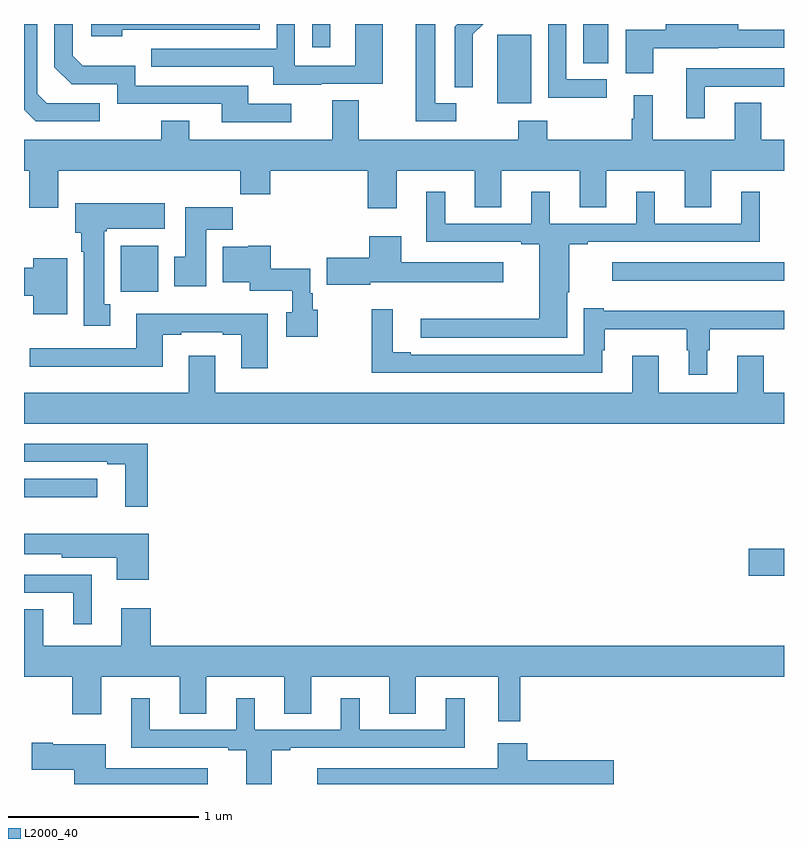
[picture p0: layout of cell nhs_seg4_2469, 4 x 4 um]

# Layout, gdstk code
import gdstk
lib = gdstk.Library(unit=1e-6, precision=1e-09)
def R(c, l, rs):  # rectangles x0, y0, x1, y1
    for r in rs: c.add(gdstk.rectangle(r[:2], r[2:], *l))
def P(c, l, *ps):  # polygons
    for p in ps: c.add(gdstk.Polygon(p, *l))
L2000_40 = (2000, 40)

nhs_seg4_2469 = lib.new_cell('nhs_seg4_2469')
R(nhs_seg4_2469, L2000_40, [(242.814,819.997,243,820.139), (239,820.409,239.386,820.506), (239.51,821.492,239.707,821.734), (242.097,821.549,243,821.646), (241.49,822.482,241.669,822.843), (241.943,822.694,242.074,822.9), (240.516,822.777,240.613,822.9)])
P(nhs_seg4_2469, L2000_40, [(239.398,822.483),(239.121,822.483),(239.07,822.534),(239.07,822.9),(239,822.9),(239,822.448),(239.061,822.387),(239.398,822.387)],
  [(240.565,822.585),(240.889,822.585),(240.889,822.9),(240.744,822.9),(240.744,822.681),(240.426,822.681),(240.426,822.9),(240.33,822.9),(240.33,822.771),(239.671,822.771),(239.671,822.675),(240.311,822.675),(240.311,822.581),(240.565,822.581)],
  [(239.516,822.87),(240.24,822.87),(240.24,822.9),(239.355,822.9),(239.355,822.836),(239.516,822.836)],
  [(241.362,822.722),(241.361,822.722),(241.361,822.845),(241.416,822.9),(241.28,822.9),(241.266,822.886),(241.266,822.568),(241.362,822.568)],
  [(242.068,822.609),(241.854,822.609),(241.854,822.9),(241.758,822.9),(241.758,822.511),(242.068,822.511)],
  [(241.276,822.483),(241.165,822.483),(241.165,822.9),(241.061,822.9),(241.061,822.387),(241.276,822.387)],
  [(240.406,822.48),(240.181,822.48),(240.181,822.576),(239.586,822.576),(239.586,822.679),(239.309,822.679),(239.256,822.732),(239.256,822.9),(239.16,822.9),(239.16,822.672),(239.25,822.582),(239.49,822.582),(239.49,822.48),(240.041,822.48),(240.041,822.384),(240.406,822.384)],
  [(242.311,822.772),(242.654,822.772),(242.654,822.774),(243,822.774),(243,822.871),(242.758,822.871),(242.758,822.9),(242.378,822.9),(242.378,822.871),(242.168,822.871),(242.168,822.642),(242.311,822.642)],
  [(242.584,822.57),(243,822.57),(243,822.666),(242.486,822.666),(242.486,822.405),(242.584,822.405)],
  [(240.961,822.128),(241.373,822.128),(241.373,821.935),(241.513,821.935),(241.513,822.128),(241.925,822.128),(241.925,821.935),(242.065,821.935),(242.065,822.128),(242.477,822.128),(242.477,821.935),(242.617,821.935),(242.617,822.128),(243,822.128),(243,822.292),(242.881,822.292),(242.881,822.485),(242.741,822.485),(242.741,822.292),(242.309,822.292),(242.309,822.526),(242.21,822.526),(242.21,822.401),(242.199,822.401),(242.199,822.292),(241.755,822.292),(241.755,822.391),(241.6,822.391),(241.6,822.292),(240.763,822.292),(240.763,822.5),(240.623,822.5),(240.623,822.292),(239.869,822.292),(239.869,822.391),(239.722,822.391),(239.722,822.292),(239,822.292),(239,822.128),(239.027,822.128),(239.027,821.934),(239.179,821.934),(239.179,822.128),(240.139,822.128),(240.139,822.004),(240.296,822.004),(240.296,822.128),(240.809,822.128),(240.809,821.931),(240.961,821.931)],
  [(241.858,821.487),(241.87,821.487),(241.87,821.742),(241.966,821.742),(241.966,821.754),(242.873,821.754),(242.873,822.016),(242.774,822.016),(242.774,821.85),(242.32,821.85),(242.32,822.016),(242.222,822.016),(242.222,821.85),(241.768,821.85),(241.768,822.016),(241.67,822.016),(241.67,821.85),(241.216,821.85),(241.216,822.016),(241.118,822.016),(241.118,821.754),(241.616,821.754),(241.616,821.742),(241.712,821.742),(241.712,821.348),(241.089,821.348),(241.089,821.25),(241.858,821.25)],
  [(239.455,821.426),(239.422,821.426),(239.422,821.809),(239.436,821.809),(239.436,821.822),(239.74,821.822),(239.74,821.956),(239.27,821.956),(239.27,821.802),(239.3,821.802),(239.3,821.702),(239.315,821.702),(239.315,821.313),(239.455,821.313)],
  [(239.959,821.816),(240.098,821.816),(240.098,821.935),(239.849,821.935),(239.849,821.676),(239.792,821.676),(239.792,821.52),(239.959,821.52)],
  [(240.822,821.54),(241.522,821.54),(241.522,821.647),(240.985,821.647),(240.985,821.782),(240.818,821.782),(240.818,821.67),(240.594,821.67),(240.594,821.528),(240.822,821.528)],
  [(240.546,821.396),(240.52,821.396),(240.52,821.484),(240.507,821.484),(240.507,821.612),(240.298,821.612),(240.298,821.734),(240.18,821.734),(240.18,821.728),(240.047,821.728),(240.047,821.54),(240.188,821.54),(240.188,821.496),(240.411,821.496),(240.411,821.383),(240.38,821.383),(240.38,821.254),(240.546,821.254)],
  [(239.227,821.668),(239.048,821.668),(239.048,821.618),(239,821.618),(239,821.471),(239.048,821.471),(239.048,821.372),(239.227,821.372)],
  [(242.596,821.183),(242.608,821.183),(242.608,821.294),(243,821.294),(243,821.392),(242.05,821.392),(242.05,821.404),(241.947,821.404),(241.947,821.16),(241.036,821.16),(241.036,821.173),(240.94,821.173),(240.94,821.398),(240.831,821.398),(240.831,821.064),(242.044,821.064),(242.044,821.183),(242.056,821.183),(242.056,821.294),(242.487,821.294),(242.487,821.183),(242.498,821.183),(242.498,821.055),(242.596,821.055)],
  [(240.283,821.374),(239.591,821.374),(239.591,821.193),(239.031,821.193),(239.031,821.096),(239.731,821.096),(239.731,821.265),(239.827,821.265),(239.827,821.277),(240.047,821.277),(240.047,821.265),(240.143,821.265),(240.143,821.088),(240.283,821.088)],
  [(243,820.96),(242.893,820.96),(242.893,821.155),(242.753,821.155),(242.753,820.96),(242.341,820.96),(242.341,821.155),(242.201,821.155),(242.201,820.96),(240.007,820.96),(240.007,821.155),(239.867,821.155),(239.867,820.96),(239,820.96),(239,820.796),(243,820.796)],
  [(239.651,820.692),(239,820.692),(239,820.596),(239.438,820.596),(239.438,820.584),(239.534,820.584),(239.534,820.359),(239.651,820.359)],
  [(239.656,820.216),(239,820.216),(239,820.109),(239.199,820.109),(239.199,820.091),(239.489,820.091),(239.489,819.975),(239.656,819.975)],
  [(239.356,820.002),(239,820.002),(239,819.906),(239.258,819.906),(239.258,819.741),(239.356,819.741)],
  [(239.666,819.826),(239.513,819.826),(239.513,819.628),(239.101,819.628),(239.101,819.821),(239,819.821),(239,819.464),(239.255,819.464),(239.255,819.267),(239.407,819.267),(239.407,819.464),(239.819,819.464),(239.819,819.271),(239.959,819.271),(239.959,819.464),(240.371,819.464),(240.371,819.271),(240.511,819.271),(240.511,819.464),(240.923,819.464),(240.923,819.271),(241.063,819.271),(241.063,819.464),(241.496,819.464),(241.496,819.231),(241.613,819.231),(241.613,819.464),(243,819.464),(243,819.628),(239.666,819.628)],
  [(240.304,819.078),(240.4,819.078),(240.4,819.09),(241.319,819.09),(241.319,819.352),(241.22,819.352),(241.22,819.186),(240.766,819.186),(240.766,819.352),(240.668,819.352),(240.668,819.186),(240.214,819.186),(240.214,819.352),(240.116,819.352),(240.116,819.186),(239.662,819.186),(239.662,819.352),(239.564,819.352),(239.564,819.09),(240.074,819.09),(240.074,819.078),(240.17,819.078),(240.17,818.9),(240.304,818.9)],
  [(239.968,818.983),(239.431,818.983),(239.431,819.109),(239.152,819.109),(239.152,819.117),(239.04,819.117),(239.04,818.975),(239.264,818.975),(239.264,818.9),(239.968,818.9)],
  [(242.105,819.025),(241.649,819.025),(241.649,819.115),(241.493,819.115),(241.493,818.982),(240.543,818.982),(240.543,818.9),(242.105,818.9)])

lib.write_gds('nhs_seg4_2469.gds')
